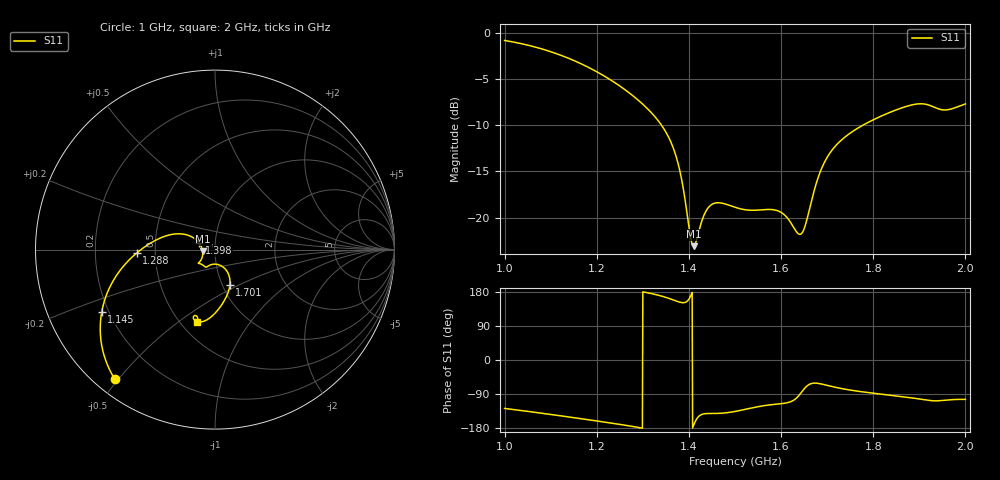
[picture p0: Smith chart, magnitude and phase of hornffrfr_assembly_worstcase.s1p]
! TOUCHSTONE file generated by CST MICROWAVE STUDIO
! Date and time: Mon Mar 23 00:53:37 2026
! Project name: hornfrfr_sheet_4.cst
! Header version: 2024
! Port assignment regex: !\s*Touchstone port\s*([0-9]+)\s*=\s*(CST MWS port|CST DES external port|CST DES block port)\s*(.+)\s* \(\"(.*)\"\)(\s*mode\s*([0-9]+))?.*
! Touchstone port assignment:
! Touchstone port 1 = CST MWS port 1 ("")
# GHz S MA R 50
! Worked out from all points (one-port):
!   1001 points, 1 GHz to 2 GHz, reference 50 ohm
!   lowest |S11| = -23.1 dB at 1.41 GHz (marker M1), VSWR 1.15, Z = 43.5 - j0.769 ohm
!   |S11| at or under -10 dB: 1.341 GHz to 1.777 GHz (436.5 MHz wide, 28 % of centre)
!   S11 on the Smith chart (normalised r, x): 1 GHz: 0.06, -0.49; 1.145 GHz: 0.17, -0.25; 1.288 GHz: 0.39, -0.02; 1.398 GHz: 0.83, +0.06; 1.701 GHz: 1.08, -0.45; 2 GHz: 0.61, -0.59
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1  0.9118 -127.8
1.066  0.8403 -138.1
1.125  0.7531 -147.9
1.145  0.7191 -151.3
1.25  0.5163 -169.9
1.288  0.4369 -177.5
1.344  0.3073 167.5
1.361  0.256 160.7
1.375  0.2027 154.6
1.386  0.1522 151.3
1.398  0.09654 157.3
1.405  0.07493 172.2
1.41  0.06996 -172.8
1.433  0.1034 -142.0
1.446  0.1159 -141.1
1.465  0.1203 -140.8
1.5  0.1137 -135.8
1.591  0.1092 -116.4
1.625  0.0904 -107.7
1.639  0.08121 -93.3
1.648  0.08455 -79.3
1.679  0.1607 -61.4
1.701  0.214 -67.2
1.75  0.2869 -79.4
1.875  0.4025 -98.5
1.927  0.4017 -107.4
1.958  0.3831 -105.9
2  0.4129 -103.9
